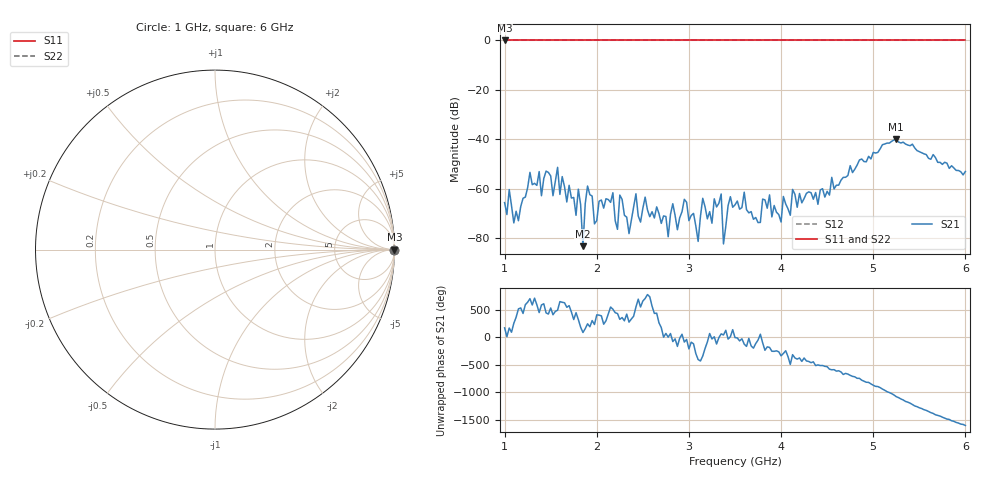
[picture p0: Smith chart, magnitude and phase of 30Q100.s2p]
!Keysight Technologies N9926A: A.08.19
!Date: Sunday, 01 March 2026 14:21:51
!Timezone: (GMT-06:00) Central Time (US & Canada)
!Model: N9926A
!Serial: MY53102721
!GPS Latitude:
!GPS Longitude:
!GPS TimeStamp: 0001-01-01 00:00:00Z
!GPS Seconds Since Last Read: 0
!CHECKSUM:1782695575
!Correction: S11()S21(ON U)S12()S22()
!S2P File: Measurements:S11,S21,S12,S22:
# Hz S DB R 50
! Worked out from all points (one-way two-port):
!   201 points, 1 GHz to 6 GHz, reference 50 ohm
!   highest |S21| = -40.06 dB at 5.25 GHz (marker M1); lowest = -83.4 dB at 1.85 GHz (marker M2)
!   lowest |S11| = 0.0 dB at 1 GHz (marker M3)
!   |S11| at or under -10 dB: nowhere
!   |S22| runs from 0.0 to 0.0 dB; largest |S21 - S12| = 1
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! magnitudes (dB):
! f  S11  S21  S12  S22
! 1 GHz  0.0  -65.7  0.0  0.0
! 1.575 GHz  0.0  -51.4  0.0  0.0
! 1.775 GHz  0.0  -70.9  0.0  0.0
! 1.8 GHz  0.0  -60.3  0.0  0.0
! 1.85 GHz  0.0  -83.4  0.0  0.0
! 1.9 GHz  0.0  -59.0  0.0  0.0
! 1.975 GHz  0.0  -74.3  0.0  0.0
! 2.175 GHz  0.0  -61.7  0.0  0.0
! 2.225 GHz  0.0  -76.5  0.0  0.0
! 2.25 GHz  0.0  -62.7  0.0  0.0
! 2.675 GHz  0.0  -70.2  0.0  0.0
! 2.775 GHz  0.0  -79.6  0.0  0.0
! 2.95 GHz  0.0  -64.4  0.0  0.0
! 3.1 GHz  0.0  -81.4  0.0  0.0
! 3.15 GHz  0.0  -64.0  0.0  0.0
! 3.35 GHz  0.0  -62.2  0.0  0.0
! 3.375 GHz  0.0  -82.5  0.0  0.0
! 3.5 GHz  0.0  -66.6  0.0  0.0
! 4.35 GHz  0.0  -64.4  0.0  0.0
! 5.175 GHz  0.0  -41.6  0.0  0.0
! 5.25 GHz  0.0  -40.1  0.0  0.0
! 6 GHz  0.0  -53.1  0.0  0.0
